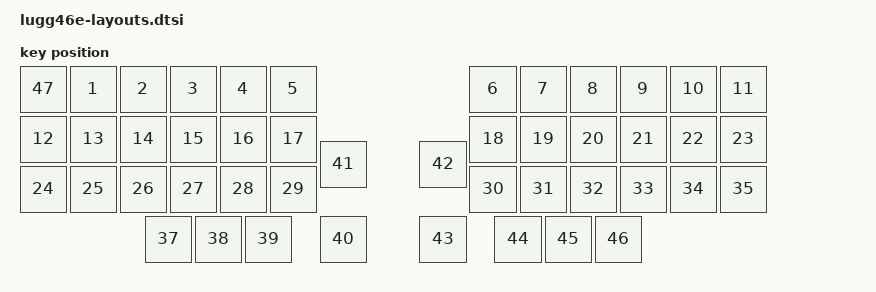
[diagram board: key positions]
/ {
    physical_layout0: physical_layout_0 {
        compatible = "zmk,physical-layout";
        display-name = "Default Layout";

        keys  //                     w   h    x    y     rot    rx    ry
            = <&key_physical_attrs 100 100    0    0       0     0     0>
            , <&key_physical_attrs 100 100  100    0       0     0     0>
            , <&key_physical_attrs 100 100  200    0       0     0     0>
            , <&key_physical_attrs 100 100  300    0       0     0     0>
            , <&key_physical_attrs 100 100  400    0       0     0     0>
            , <&key_physical_attrs 100 100  500    0       0     0     0>
            
            , <&key_physical_attrs 100 100  900    0       0     0     0>
            , <&key_physical_attrs 100 100 1000    0       0     0     0>
            , <&key_physical_attrs 100 100 1100    0       0     0     0>
            , <&key_physical_attrs 100 100 1200    0       0     0     0>
            , <&key_physical_attrs 100 100 1300    0       0     0     0>
            , <&key_physical_attrs 100 100 1400    0       0     0     0>
            
            , <&key_physical_attrs 100 100    0  100       0     0     0>
            , <&key_physical_attrs 100 100  100  100       0     0     0>
            , <&key_physical_attrs 100 100  200  100       0     0     0>
            , <&key_physical_attrs 100 100  300  100       0     0     0>
            , <&key_physical_attrs 100 100  400  100       0     0     0>
            , <&key_physical_attrs 100 100  500  100       0     0     0>
            
            , <&key_physical_attrs 100 100  900  100       0     0     0>
            , <&key_physical_attrs 100 100 1000  100       0     0     0>
            , <&key_physical_attrs 100 100 1100  100       0     0     0>
            , <&key_physical_attrs 100 100 1200  100       0     0     0>
            , <&key_physical_attrs 100 100 1300  100       0     0     0>
            , <&key_physical_attrs 100 100 1400  100       0     0     0>

            , <&key_physical_attrs 100 100    0  200       0     0     0>
            , <&key_physical_attrs 100 100  100  200       0     0     0>
            , <&key_physical_attrs 100 100  200  200       0     0     0>
            , <&key_physical_attrs 100 100  300  200       0     0     0>
            , <&key_physical_attrs 100 100  400  200       0     0     0>
            , <&key_physical_attrs 100 100  500  200       0     0     0>
            
            , <&key_physical_attrs 100 100  900  200       0     0     0>
            , <&key_physical_attrs 100 100 1000  200       0     0     0>
            , <&key_physical_attrs 100 100 1100  200       0     0     0>
            , <&key_physical_attrs 100 100 1200  200       0     0     0>
            , <&key_physical_attrs 100 100 1300  200       0     0     0>
            , <&key_physical_attrs 100 100 1400  200       0     0     0>
            
            , <&key_physical_attrs 100 100    0    0       0     0     0>
            , <&key_physical_attrs 100 100  250  300       0     0     0>
            , <&key_physical_attrs 100 100  350  300       0     0     0>
            , <&key_physical_attrs 100 100  450  300       0     0     0>
            , <&key_physical_attrs 100 100  600  300       0     0     0>
            , <&key_physical_attrs 100 100  600  150       0     0     0>
            
            , <&key_physical_attrs 100 100  800  150       0     0     0>
            , <&key_physical_attrs 100 100  800  300       0     0     0>
            , <&key_physical_attrs 100 100  950  300       0     0     0>
            , <&key_physical_attrs 100 100 1050  300       0     0     0>
            , <&key_physical_attrs 100 100 1150  300       0     0     0>
            , <&key_physical_attrs 100 100    0    0       0     0     0>
        ;
    };
};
